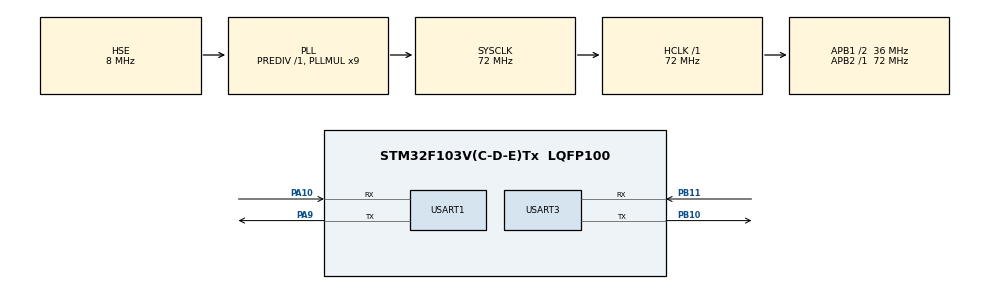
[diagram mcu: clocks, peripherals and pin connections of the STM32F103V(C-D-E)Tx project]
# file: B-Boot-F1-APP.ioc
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Dma.Request0=USART3_RX
Dma.Request1=USART3_TX
Dma.USART3_RX.0.Direction=DMA_PERIPH_TO_MEMORY
Dma.USART3_RX.0.Instance=DMA1_Channel3
Dma.USART3_RX.0.MemDataAlignment=DMA_MDATAALIGN_BYTE
Dma.USART3_RX.0.MemInc=DMA_MINC_ENABLE
Dma.USART3_RX.0.Mode=DMA_NORMAL
Dma.USART3_RX.0.PeriphDataAlignment=DMA_PDATAALIGN_BYTE
Dma.USART3_RX.0.PeriphInc=DMA_PINC_DISABLE
Dma.USART3_RX.0.Priority=DMA_PRIORITY_LOW
Dma.USART3_TX.1.Direction=DMA_MEMORY_TO_PERIPH
Dma.USART3_TX.1.Instance=DMA1_Channel2
Dma.USART3_TX.1.MemDataAlignment=DMA_MDATAALIGN_BYTE
Dma.USART3_TX.1.MemInc=DMA_MINC_ENABLE
Dma.USART3_TX.1.Mode=DMA_NORMAL
Dma.USART3_TX.1.PeriphDataAlignment=DMA_PDATAALIGN_BYTE
Dma.USART3_TX.1.PeriphInc=DMA_PINC_DISABLE
Dma.USART3_TX.1.Priority=DMA_PRIORITY_LOW
Mcu.Family=STM32F1
Mcu.Name=STM32F103V(C-D-E)Tx
Mcu.Package=LQFP100
NVIC.DMA1_Channel2_IRQn=true\:0\:0\:false\:false\:true\:false\:true\:true
NVIC.DMA1_Channel3_IRQn=true\:0\:0\:false\:false\:true\:false\:true\:true
NVIC.PriorityGroup=NVIC_PRIORITYGROUP_4
NVIC.USART1_IRQn=true\:0\:0\:false\:false\:true\:true\:true\:true
NVIC.USART3_IRQn=true\:0\:0\:false\:false\:true\:true\:true\:true
OSC_IN.Mode=HSE-External-Oscillator
OSC_IN.Signal=RCC_OSC_IN
OSC_OUT.Mode=HSE-External-Oscillator
OSC_OUT.Signal=RCC_OSC_OUT
PA10.Mode=Asynchronous
PA10.Signal=USART1_RX
PA13.Mode=Serial_Wire
PA13.Signal=SYS_JTMS-SWDIO
PA14.Mode=Serial_Wire
PA14.Signal=SYS_JTCK-SWCLK
PA9.Mode=Asynchronous
PA9.Signal=USART1_TX
PB10.Mode=Asynchronous
PB10.Signal=USART3_TX
PB11.Mode=Asynchronous
PB11.Signal=USART3_RX
ProjectManager.HeapSize=0x200
ProjectManager.StackSize=0x400
ProjectManager.TargetToolchain=MDK-ARM V5.32
RCC.AHBFreq_Value=72000000
RCC.APB1CLKDivider=RCC_HCLK_DIV2
RCC.APB1Freq_Value=36000000
RCC.APB1TimFreq_Value=72000000
RCC.APB2Freq_Value=72000000
RCC.APB2TimFreq_Value=72000000
RCC.HCLKFreq_Value=72000000
RCC.PLLMUL=RCC_PLL_MUL9
RCC.PLLSourceVirtual=RCC_PLLSOURCE_HSE
RCC.SYSCLKFreq_VALUE=72000000
RCC.SYSCLKSource=RCC_SYSCLKSOURCE_PLLCLK
RCC.USBFreq_Value=72000000
USART1.VirtualMode=VM_ASYNC
USART3.VirtualMode=VM_ASYNC
board=custom

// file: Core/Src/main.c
/* USER CODE BEGIN Header */
/**
 ******************************************************************************
 * @file           : main.c
 * @brief          : Main program body
 ******************************************************************************
 * @attention
 *
 * Copyright (c) 2023 STMicroelectronics.
 * All rights reserved.
 *
 * This software is licensed under terms that can be found in the LICENSE file
 * in the root directory of this software component.
 * If no LICENSE file comes with this software, it is provided AS-IS.
 *
 ******************************************************************************
 */
/* USER CODE END Header */
#include "main.h"
#include "dma.h"
#include "usart.h"
#include "gpio.h"

/* USER CODE BEGIN Includes */
#include "stdio.h"
#include "dtu-4g.h"
#include "ymodem.h"
/* USER CODE END Includes */

/* USER CODE BEGIN PTD */
//#define USE_YMODEM        //使用串口进行升级
#define USE_DTU_4G          //使用DTU4G模块进行升级
/* USER CODE END PTD */

void SystemClock_Config(void);

int main(void)
{
  /* USER CODE BEGIN 1 */
	SCB->VTOR = FLASH_BASE | BootLoader_Size; /* 更改中断向量表地址 */
  /* USER CODE END 1 */

  /* MCU Configuration--------------------------------------------------------*/

  /* Reset of all peripherals, Initializes the Flash interface and the Systick. */
  HAL_Init();

  /* Configure the system clock */
  SystemClock_Config();

  /* Initialize all configured peripherals */
  MX_GPIO_Init();
  MX_DMA_Init();
  MX_USART1_UART_Init();
  MX_USART3_UART_Init();

  /* Infinite loop */
  /* USER CODE BEGIN WHILE */
	u1_printf("\r\n");
	u1_printf("***********************************\r\n");
	u1_printf("*                                 *\r\n");
	u1_printf("*      B-Boot-F1's Application    *\r\n");
	u1_printf("*          For the test           *\r\n");
	u1_printf("*         Version :  %s         *\r\n",VERSION);
	u1_printf("*                                 *\r\n");
	u1_printf("***********************************\r\n");

#ifdef USE_DTU_4G
	/* 进入指令模式，设置服务器信息 */
	DTU_Enter_CMD();
#endif

  while (1)
	{
    /* USER CODE END WHILE */

    /* USER CODE BEGIN 3 */
#ifdef USE_YMODEM
		  YModem_Update();
#endif
#ifdef USE_DTU_4G
      DTU_Working();
#endif
	}
  /* USER CODE END 3 */
}

void SystemClock_Config(void)
{
  RCC_OscInitTypeDef RCC_OscInitStruct = {0};
  RCC_ClkInitTypeDef RCC_ClkInitStruct = {0};

  /** Initializes the RCC Oscillators according to the specified parameters
  * in the RCC_OscInitTypeDef structure.
  */
  RCC_OscInitStruct.OscillatorType = RCC_OSCILLATORTYPE_HSE;
  RCC_OscInitStruct.HSEState = RCC_HSE_ON;
  RCC_OscInitStruct.HSEPredivValue = RCC_HSE_PREDIV_DIV1;
  RCC_OscInitStruct.HSIState = RCC_HSI_ON;
  RCC_OscInitStruct.PLL.PLLState = RCC_PLL_ON;
  RCC_OscInitStruct.PLL.PLLSource = RCC_PLLSOURCE_HSE;
  RCC_OscInitStruct.PLL.PLLMUL = RCC_PLL_MUL9;
  if (HAL_RCC_OscConfig(&RCC_OscInitStruct) != HAL_OK)
  {
    Error_Handler();
  }

  /** Initializes the CPU, AHB and APB buses clocks
  */
  RCC_ClkInitStruct.ClockType = RCC_CLOCKTYPE_HCLK|RCC_CLOCKTYPE_SYSCLK
                              |RCC_CLOCKTYPE_PCLK1|RCC_CLOCKTYPE_PCLK2;
  RCC_ClkInitStruct.SYSCLKSource = RCC_SYSCLKSOURCE_PLLCLK;
  RCC_ClkInitStruct.AHBCLKDivider = RCC_SYSCLK_DIV1;
  RCC_ClkInitStruct.APB1CLKDivider = RCC_HCLK_DIV2;
  RCC_ClkInitStruct.APB2CLKDivider = RCC_HCLK_DIV1;

  if (HAL_RCC_ClockConfig(&RCC_ClkInitStruct, FLASH_LATENCY_2) != HAL_OK)
  {
    Error_Handler();
  }
}

void Error_Handler(void)
{
	__disable_irq();
	while (1)
	{
	}
}
